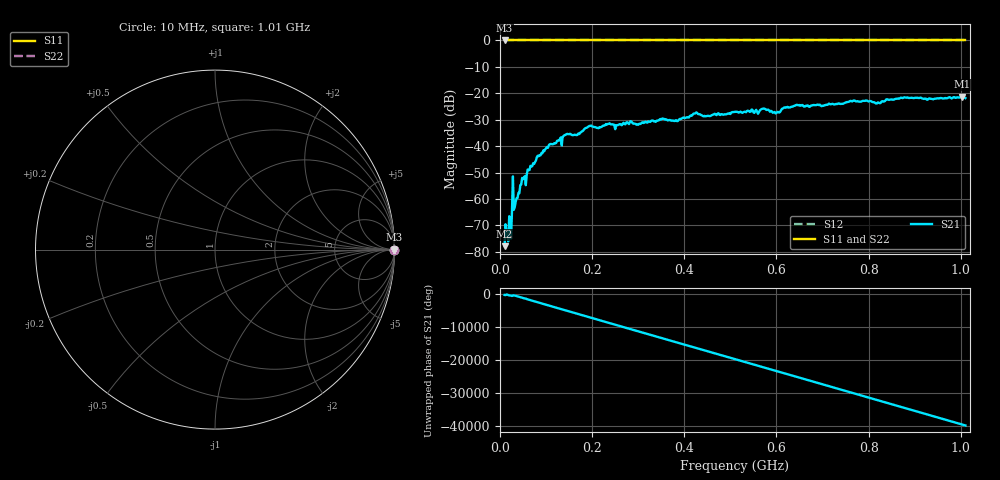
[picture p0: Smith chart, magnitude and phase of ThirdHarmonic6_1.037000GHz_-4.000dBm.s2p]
! 8/16/2025 8:56:36 AM
! C:\ANRITSUVNA\TEMP\TEMP.S2P
! CHANNEL.1
! TR.MEASUREMENT
! RAW.DATA
! RF.CORRECTION.OFF
! AVERAGING.OFF
! IF.BANDWIDTH: 5KHZ
! SWEEPTYPE:  FREQ.SWEEP(Linear)
! Reference Plane Port Info
! PORT:  PORT1  PORT2
! DISTANCE:  0  m  0  m
! TIME:  0  s  0  s
! PHASE.OFFSET:  0  deg.  0  deg.
! LOSS:  0  dB  0  dB
! REF.LOSS:  0  dB  0  dB
! REF.FREQ:  0  Hz  0  Hz
! Power Info
! POWER:  -20  dBm  -20  dBm
! EFF.POWER:  -20  dBm  -20  dBm
! SOURCE.ATTEN:  0  dB  0  dB
! TEST.ATTEN:  0  dB  0  dB
# GHZ S RI R 50.0
! FREQ.GHZ  S11RE  S11IM  S21RE  S21IM  S12RE  S12IM  S22RE  S22IM
!; PortSelection: Port_12
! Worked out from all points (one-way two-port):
!   501 points, 10 MHz to 1.01 GHz, reference 50 ohm
!   highest |S21| = -21.21 dB at 1.002 GHz (marker M1); lowest = -77.8 dB at 10 MHz (marker M2)
!   lowest |S11| = 0.0 dB at 10 MHz (marker M3)
!   |S11| at or under -10 dB: nowhere
!   |S22| runs from 0.0 to 0.0 dB; largest |S21 - S12| = 1.1
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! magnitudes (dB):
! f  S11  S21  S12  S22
! 10 MHz  0.0  -77.8  0.0  0.0
! 16 MHz  0.0  -73.7  0.0  0.0
! 20 MHz  0.0  -66.5  0.0  0.0
! 22 MHz  0.0  -67.7  0.0  0.0
! 24 MHz  0.0  -74.9  0.0  0.0
! 32 MHz  0.0  -63.0  0.0  0.0
! 34 MHz  0.0  -61.1  0.0  0.0
! 48 MHz  0.0  -52.0  0.0  0.0
! 64 MHz  0.0  -49.0  0.0  0.0
! 106 MHz  0.0  -39.6  0.0  0.0
! 142 MHz  0.0  -35.8  0.0  0.0
! 178 MHz  0.0  -34.4  0.0  0.0
! 194 MHz  0.0  -32.3  0.0  0.0
! 344 MHz  0.0  -30.3  0.0  0.0
! 510 MHz  0.0  -27.0  0.0  0.0
! 572 MHz  0.0  -25.8  0.0  0.0
! 602 MHz  0.0  -27.1  0.0  0.0
! 620 MHz  0.0  -25.4  0.0  0.0
! 678 MHz  0.0  -24.5  0.0  0.0
! 844 MHz  0.0  -22.5  0.0  0.0
! 1.002 GHz  0.0  -21.2  0.0  0.0
! 1.01 GHz  0.0  -21.8  0.0  0.0
